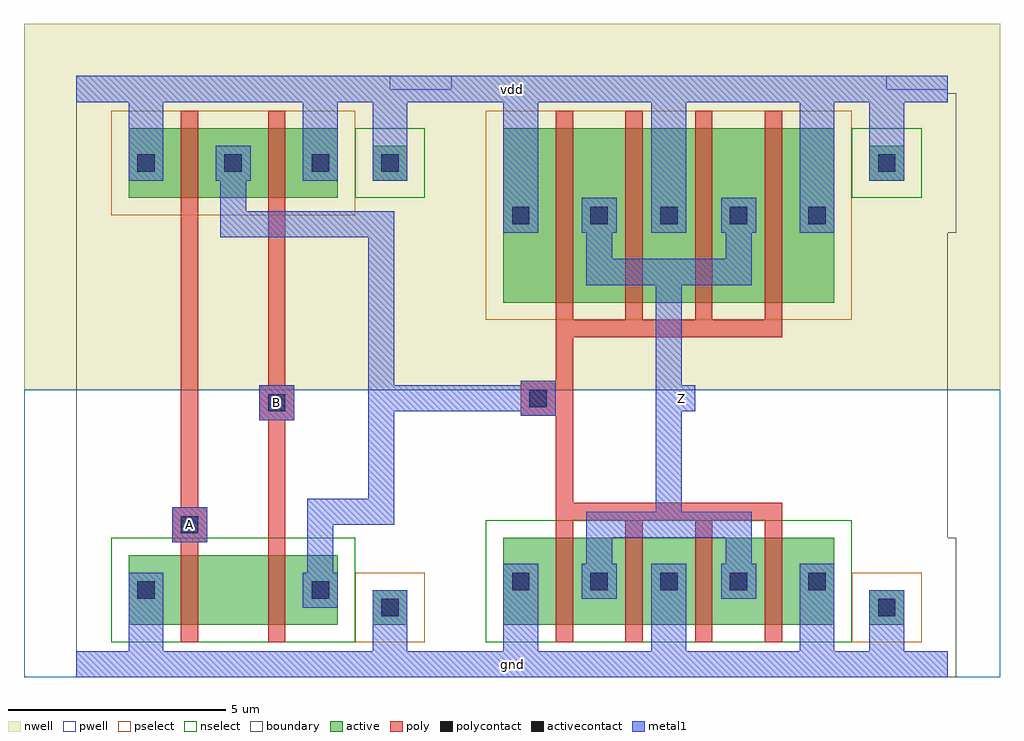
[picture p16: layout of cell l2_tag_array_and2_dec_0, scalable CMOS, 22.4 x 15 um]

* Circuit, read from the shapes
.subckt l2_tag_array_and2_dec_0 A B Z gnd vdd
M1 l2_tag_array_pnand2_0/l2_tag_array_nmos_m1_w1_600_sm1_dactive_2/D A gnd gnd nfet w=1.6u l=0.4u
M2 l2_tag_array_pinv_0_1/A B l2_tag_array_pnand2_0/l2_tag_array_nmos_m1_w1_600_sm1_dactive_2/D gnd nfet w=1.6u l=0.4u
M3 Z l2_tag_array_pinv_0_1/A gnd gnd nfet w=2u l=0.4u m=4
M4 l2_tag_array_pinv_0_1/A A vdd vdd pfet w=1.6u l=0.4u
M5 vdd B l2_tag_array_pinv_0_1/A vdd pfet w=1.6u l=0.4u
M6 Z l2_tag_array_pinv_0_1/A vdd vdd pfet w=4u l=0.4u m=4
.ends

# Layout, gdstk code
import gdstk
lib = gdstk.Library(unit=1e-6, precision=1e-09)
def R(c, l, rs):  # rectangles x0, y0, x1, y1
    for r in rs: c.add(gdstk.rectangle(r[:2], r[2:], *l))
def A(c, l, x, y, w, h, nx, ny, dx, dy):  # array of equal rectangles
    R(c, l, [(x+i*dx, y+j*dy, x+i*dx+w, y+j*dy+h) for i in range(nx) for j in range(ny)])
pwell = (41, 0)
nwell = (42, 0)
active = (43, 0)
pselect = (44, 0)
nselect = (45, 0)
poly = (46, 0)
polycontact = (47, 0)
activecontact = (48, 0)
metal1 = (49, 0)
boundary = (63, 0)

l2_tag_array_contact_11 = lib.new_cell('l2_tag_array_contact_11')
R(l2_tag_array_contact_11, nwell, [(-1.2,-1.2,2,2)])
R(l2_tag_array_contact_11, active, [(0,0,0.8,0.8)])
R(l2_tag_array_contact_11, pselect, [(-0.4,-0.4,1.2,1.2)])
R(l2_tag_array_contact_11, activecontact, [(0.2,0.2,0.6,0.6)])
R(l2_tag_array_contact_11, metal1, [(0,0,0.8,0.8)])
R(l2_tag_array_contact_11, boundary, [(-1.2,-1.2,2,2)])

l2_tag_array_pmos_m1_w1_ = lib.new_cell('l2_tag_array_pmos_m1_w1_600_sm1_dm1')
R(l2_tag_array_pmos_m1_w1_, nwell, [(-1.2,-1.2,4,2.8)])
R(l2_tag_array_pmos_m1_w1_, active, [(0,0,2.8,1.6)])
R(l2_tag_array_pmos_m1_w1_, pselect, [(-0.4,-0.4,3.2,2)])
R(l2_tag_array_pmos_m1_w1_, poly, [(1.2,-0.4,1.6,2), (1.2,-0.4,1.6,2)])
R(l2_tag_array_pmos_m1_w1_, metal1, [(0,0.4,0.8,1.2), (2,0.4,2.8,1.2)])
R(l2_tag_array_pmos_m1_w1_, boundary, [(-1.2,-1.2,4,2.8)])
l2_tag_array_pmos_m1_w1_.add(gdstk.Reference(l2_tag_array_contact_11, (0,0.4)))
l2_tag_array_pmos_m1_w1_.add(gdstk.Reference(l2_tag_array_contact_11, (2,0.4)))
l2_tag_array_pmos_m1_w1_.add(gdstk.Label('G', (1.4,0.8), layer=46, texttype=0))
l2_tag_array_pmos_m1_w1_.add(gdstk.Label('S', (0.4,0.8), layer=49, texttype=0))
l2_tag_array_pmos_m1_w1_.add(gdstk.Label('D', (2.4,0.8), layer=49, texttype=0))

l2_tag_array_contact_10 = lib.new_cell('l2_tag_array_contact_10')
R(l2_tag_array_contact_10, pwell, [(-1.2,-1.2,2,2)])
R(l2_tag_array_contact_10, active, [(0,0,0.8,0.8)])
R(l2_tag_array_contact_10, nselect, [(-0.4,-0.4,1.2,1.2)])
R(l2_tag_array_contact_10, activecontact, [(0.2,0.2,0.6,0.6)])
R(l2_tag_array_contact_10, metal1, [(0,0,0.8,0.8)])
R(l2_tag_array_contact_10, boundary, [(-1.2,-1.2,2,2)])

l2_tag_array_nmos_m1_w1_ = lib.new_cell('l2_tag_array_nmos_m1_w1_600_sm1_dactive')
R(l2_tag_array_nmos_m1_w1_, pwell, [(-1.2,-1.2,4,2.8)])
R(l2_tag_array_nmos_m1_w1_, active, [(0,0,2.8,1.6), (2.1,0.5,2.7,1.1)])
R(l2_tag_array_nmos_m1_w1_, nselect, [(-0.4,-0.4,3.2,2)])
R(l2_tag_array_nmos_m1_w1_, poly, [(1.2,-0.4,1.6,2), (1.2,-0.4,1.6,2)])
R(l2_tag_array_nmos_m1_w1_, metal1, [(0,0.4,0.8,1.2)])
R(l2_tag_array_nmos_m1_w1_, boundary, [(-1.2,-1.2,4,2.8)])
l2_tag_array_nmos_m1_w1_.add(gdstk.Reference(l2_tag_array_contact_10, (0,0.4)))
l2_tag_array_nmos_m1_w1_.add(gdstk.Label('G', (1.4,0.8), layer=46, texttype=0))
l2_tag_array_nmos_m1_w1_.add(gdstk.Label('S', (0.4,0.8), layer=49, texttype=0))
l2_tag_array_nmos_m1_w1_.add(gdstk.Label('D', (2.4,0.8), layer=43, texttype=0))

c_l2_tag_array_nmos_m1_w1_ = lib.new_cell('l2_tag_array_nmos_m1_w1_600_sactive_dm1')
R(c_l2_tag_array_nmos_m1_w1_, pwell, [(-1.2,-1.2,4,2.8)])
R(c_l2_tag_array_nmos_m1_w1_, active, [(0,0,2.8,1.6), (0.1,0.5,0.7,1.1)])
R(c_l2_tag_array_nmos_m1_w1_, nselect, [(-0.4,-0.4,3.2,2)])
R(c_l2_tag_array_nmos_m1_w1_, poly, [(1.2,-0.4,1.6,2), (1.2,-0.4,1.6,2)])
R(c_l2_tag_array_nmos_m1_w1_, metal1, [(2,0.4,2.8,1.2)])
R(c_l2_tag_array_nmos_m1_w1_, boundary, [(-1.2,-1.2,4,2.8)])
c_l2_tag_array_nmos_m1_w1_.add(gdstk.Reference(l2_tag_array_contact_10, (2,0.4)))
c_l2_tag_array_nmos_m1_w1_.add(gdstk.Label('G', (1.4,0.8), layer=46, texttype=0))
c_l2_tag_array_nmos_m1_w1_.add(gdstk.Label('S', (0.4,0.8), layer=43, texttype=0))
c_l2_tag_array_nmos_m1_w1_.add(gdstk.Label('D', (2.4,0.8), layer=49, texttype=0))

l2_tag_array_contact_12 = lib.new_cell('l2_tag_array_contact_12')
R(l2_tag_array_contact_12, nwell, [(-1.2,-1.2,2,2)])
R(l2_tag_array_contact_12, active, [(0,0,0.8,0.8)])
R(l2_tag_array_contact_12, nselect, [(-0.4,-0.4,1.2,1.2)])
R(l2_tag_array_contact_12, activecontact, [(0.2,0.2,0.6,0.6)])
R(l2_tag_array_contact_12, metal1, [(0,0,0.8,0.8)])
R(l2_tag_array_contact_12, boundary, [(-1.2,-1.2,2,2)])

l2_tag_array_contact_13 = lib.new_cell('l2_tag_array_contact_13')
R(l2_tag_array_contact_13, pwell, [(-1.2,-1.2,2,2)])
R(l2_tag_array_contact_13, active, [(0,0,0.8,0.8)])
R(l2_tag_array_contact_13, pselect, [(-0.4,-0.4,1.2,1.2)])
R(l2_tag_array_contact_13, activecontact, [(0.2,0.2,0.6,0.6)])
R(l2_tag_array_contact_13, metal1, [(0,0,0.8,0.8)])
R(l2_tag_array_contact_13, boundary, [(-1.2,-1.2,2,2)])

l2_tag_array_contact_14 = lib.new_cell('l2_tag_array_contact_14')
R(l2_tag_array_contact_14, poly, [(0,0,0.8,0.8)])
R(l2_tag_array_contact_14, polycontact, [(0.2,0.2,0.6,0.6)])
R(l2_tag_array_contact_14, metal1, [(0,0,0.8,0.8)])
R(l2_tag_array_contact_14, boundary, [(0,0,0.8,0.8)])

l2_tag_array_pnand2 = lib.new_cell('l2_tag_array_pnand2')
R(l2_tag_array_pnand2, pwell, [(-1.2,-0.3,9.8,6.3)])
R(l2_tag_array_pnand2, nwell, [(-1.2,6.3,9.8,14.7)])
R(l2_tag_array_pnand2, poly, [(2.4,2.8,2.6,3.6), (2.4,2.9,2.8,10.3), (4.4,2.9,4.8,10.3), (4.4,5.6,4.6,6.4)])
R(l2_tag_array_pnand2, metal1, [(0,-0.3,8.6,0.3), (1.2,-0.3,2,1.3), (6.8,0,7.6,1.3), (5.3,2.1,5.9,3.5), (2.2,2.8,3,3.6), (5.3,3.2,5.9,3.8), (5.6,3.2,7,3.8), (6.7,3.2,7.3,3.8), (6.7,3.5,7.3,10.1), (4.2,5.6,5,6.4), (3.3,9.8,3.9,10.4), (3.6,9.8,7,10.4), (6.7,9.8,7.3,10.4), (3.3,10.1,3.9,11.1), (1.2,11.1,2,13.5), (5.2,11.1,6,13.5), (6.8,11.5,7.6,13.2), (0,12.9,8.6,13.5)])
R(l2_tag_array_pnand2, boundary, [(0,0,8.6,13.2), (0,0,8.6,13.2)])
l2_tag_array_pnand2.add(gdstk.Reference(l2_tag_array_pmos_m1_w1_, (1.2,10.7)))
l2_tag_array_pnand2.add(gdstk.Reference(l2_tag_array_pmos_m1_w1_, (3.2,10.7)))
l2_tag_array_pnand2.add(gdstk.Reference(l2_tag_array_nmos_m1_w1_, (1.2,0.9)))
l2_tag_array_pnand2.add(gdstk.Reference(c_l2_tag_array_nmos_m1_w1_, (3.2,0.9)))
l2_tag_array_pnand2.add(gdstk.Reference(l2_tag_array_contact_12, (6.8,11.1)))
l2_tag_array_pnand2.add(gdstk.Reference(l2_tag_array_contact_13, (6.8,0.9)))
l2_tag_array_pnand2.add(gdstk.Reference(l2_tag_array_contact_14, (2.2,2.8)))
l2_tag_array_pnand2.add(gdstk.Reference(l2_tag_array_contact_14, (4.2,5.6)))
l2_tag_array_pnand2.add(gdstk.Label('Z', (7,10.1), layer=49, texttype=0))
l2_tag_array_pnand2.add(gdstk.Label('gnd', (4.3,0), layer=49, texttype=0))
l2_tag_array_pnand2.add(gdstk.Label('vdd', (4.3,13.2), layer=49, texttype=0))
l2_tag_array_pnand2.add(gdstk.Label('A', (2.6,3.2), layer=49, texttype=0))
l2_tag_array_pnand2.add(gdstk.Label('B', (4.6,6), layer=49, texttype=0))

l2_tag_array_pmos_m4_w4_ = lib.new_cell('l2_tag_array_pmos_m4_w4_000_sm1_dm1_da_p')
R(l2_tag_array_pmos_m4_w4_, nwell, [(-1.2,-1.2,8.8,5.2)])
R(l2_tag_array_pmos_m4_w4_, active, [(0,0,7.6,4)])
R(l2_tag_array_pmos_m4_w4_, pselect, [(-0.4,-0.4,8,4.4)])
A(l2_tag_array_pmos_m4_w4_, poly, 1.2, -0.4, 0.4, 4.8, 4, 1, 1.6, 0)
R(l2_tag_array_pmos_m4_w4_, poly, [(1.2,-0.8,6.4,-0.4)])
A(l2_tag_array_pmos_m4_w4_, metal1, 0, 1.6, 0.8, 0.8, 3, 1, 3.4, 0)
R(l2_tag_array_pmos_m4_w4_, metal1, [(1.9,0.4,5.7,1), (1.9,0.7,2.5,2), (5.1,0.7,5.7,2)])
R(l2_tag_array_pmos_m4_w4_, boundary, [(-1.2,-1.2,8.8,5.2)])
l2_tag_array_pmos_m4_w4_.add(gdstk.Reference(l2_tag_array_contact_11, (0,1.6)))
l2_tag_array_pmos_m4_w4_.add(gdstk.Reference(l2_tag_array_contact_11, (1.8,1.6)))
l2_tag_array_pmos_m4_w4_.add(gdstk.Reference(l2_tag_array_contact_11, (3.4,1.6)))
l2_tag_array_pmos_m4_w4_.add(gdstk.Reference(l2_tag_array_contact_11, (5,1.6)))
l2_tag_array_pmos_m4_w4_.add(gdstk.Reference(l2_tag_array_contact_11, (6.8,1.6)))
l2_tag_array_pmos_m4_w4_.add(gdstk.Label('G', (3.8,-0.6), layer=46, texttype=0))
l2_tag_array_pmos_m4_w4_.add(gdstk.Label('S', (0.4,2), layer=49, texttype=0))
l2_tag_array_pmos_m4_w4_.add(gdstk.Label('S', (7.2,2), layer=49, texttype=0))
l2_tag_array_pmos_m4_w4_.add(gdstk.Label('S', (3.8,2), layer=49, texttype=0))
l2_tag_array_pmos_m4_w4_.add(gdstk.Label('D', (3.8,0.7), layer=49, texttype=0))

l2_tag_array_nmos_m4_w2_ = lib.new_cell('l2_tag_array_nmos_m4_w2_000_sm1_dm1_da_p')
R(l2_tag_array_nmos_m4_w2_, pwell, [(-1.2,-1.2,8.8,3.2)])
R(l2_tag_array_nmos_m4_w2_, active, [(0,0,7.6,2)])
R(l2_tag_array_nmos_m4_w2_, nselect, [(-0.4,-0.4,8,2.4)])
A(l2_tag_array_nmos_m4_w2_, poly, 1.2, -0.4, 0.4, 2.8, 4, 1, 1.6, 0)
R(l2_tag_array_nmos_m4_w2_, poly, [(1.2,2.4,6.4,2.8)])
A(l2_tag_array_nmos_m4_w2_, metal1, 0, 0.6, 0.8, 0.8, 3, 1, 3.4, 0)
R(l2_tag_array_nmos_m4_w2_, metal1, [(1.9,1,2.5,2.3), (5.1,1,5.7,2.3), (1.9,2,5.7,2.6)])
R(l2_tag_array_nmos_m4_w2_, boundary, [(-1.2,-1.2,8.8,3.2)])
l2_tag_array_nmos_m4_w2_.add(gdstk.Reference(l2_tag_array_contact_10, (0,0.6)))
l2_tag_array_nmos_m4_w2_.add(gdstk.Reference(l2_tag_array_contact_10, (1.8,0.6)))
l2_tag_array_nmos_m4_w2_.add(gdstk.Reference(l2_tag_array_contact_10, (3.4,0.6)))
l2_tag_array_nmos_m4_w2_.add(gdstk.Reference(l2_tag_array_contact_10, (5,0.6)))
l2_tag_array_nmos_m4_w2_.add(gdstk.Reference(l2_tag_array_contact_10, (6.8,0.6)))
l2_tag_array_nmos_m4_w2_.add(gdstk.Label('G', (3.8,2.6), layer=46, texttype=0))
l2_tag_array_nmos_m4_w2_.add(gdstk.Label('S', (3.8,1), layer=49, texttype=0))
l2_tag_array_nmos_m4_w2_.add(gdstk.Label('S', (0.4,1), layer=49, texttype=0))
l2_tag_array_nmos_m4_w2_.add(gdstk.Label('S', (7.2,1), layer=49, texttype=0))
l2_tag_array_nmos_m4_w2_.add(gdstk.Label('D', (3.8,2.3), layer=49, texttype=0))

l2_tag_array_pinv_0 = lib.new_cell('l2_tag_array_pinv_0')
R(l2_tag_array_pinv_0, pwell, [(-1.2,-0.3,12.6,6.3)])
R(l2_tag_array_pinv_0, nwell, [(-1.2,6.3,12.6,14.7)])
R(l2_tag_array_pinv_0, poly, [(2.4,3.7,2.8,7.5), (2,5.7,2.4,6.5)])
A(l2_tag_array_pinv_0, metal1, 1.2, -0.3, 0.8, 1.8, 3, 1, 3.4, 0)
A(l2_tag_array_pinv_0, metal1, 1.2, 9.9, 0.8, 3.6, 3, 1, 3.4, 0)
R(l2_tag_array_pinv_0, metal1, [(0,-0.3,11.4,0.3), (9.6,0,10.4,1.3), (4.7,2.9,5.3,9.3), (1.6,5.7,2.4,6.5), (5,5.8,5.6,6.4), (9.6,11.5,10.4,13.2), (0,12.9,11.4,13.5)])
R(l2_tag_array_pinv_0, boundary, [(0,0,11.4,13.2), (0,0,11.4,13.2)])
l2_tag_array_pinv_0.add(gdstk.Reference(l2_tag_array_pmos_m4_w4_, (1.2,8.3)))
l2_tag_array_pinv_0.add(gdstk.Reference(l2_tag_array_nmos_m4_w2_, (1.2,0.9)))
l2_tag_array_pinv_0.add(gdstk.Reference(l2_tag_array_contact_12, (9.6,11.1)))
l2_tag_array_pinv_0.add(gdstk.Reference(l2_tag_array_contact_13, (9.6,0.9)))
l2_tag_array_pinv_0.add(gdstk.Reference(l2_tag_array_contact_14, (1.6,5.7)))
l2_tag_array_pinv_0.add(gdstk.Label('A', (2,6.1), layer=49, texttype=0))
l2_tag_array_pinv_0.add(gdstk.Label('Z', (5.3,6.1), layer=49, texttype=0))
l2_tag_array_pinv_0.add(gdstk.Label('gnd', (5.7,0), layer=49, texttype=0))
l2_tag_array_pinv_0.add(gdstk.Label('vdd', (5.7,13.2), layer=49, texttype=0))

l2_tag_array_and2_dec_0 = lib.new_cell('l2_tag_array_and2_dec_0')
R(l2_tag_array_and2_dec_0, metal1, [(0,-0.3,20,0.3), (2.2,2.8,3,3.6), (4.2,5.6,5,6.4), (6.7,5.8,7.3,6.4), (7,5.8,10.6,6.4), (13.6,5.8,14.2,6.4), (6.7,6.1,7.3,10.1), (0,12.9,20,13.5)])
R(l2_tag_array_and2_dec_0, boundary, [(0,0,20,13.2)])
l2_tag_array_and2_dec_0.add(gdstk.Reference(l2_tag_array_pnand2, (0,0)))
l2_tag_array_and2_dec_0.add(gdstk.Reference(l2_tag_array_pinv_0, (8.6,0)))
l2_tag_array_and2_dec_0.add(gdstk.Label('Z', (13.9,6.1), layer=49, texttype=0))
l2_tag_array_and2_dec_0.add(gdstk.Label('A', (2.6,3.2), layer=49, texttype=0))
l2_tag_array_and2_dec_0.add(gdstk.Label('B', (4.6,6), layer=49, texttype=0))
l2_tag_array_and2_dec_0.add(gdstk.Label('gnd', (10,0), layer=49, texttype=0))
l2_tag_array_and2_dec_0.add(gdstk.Label('vdd', (10,13.2), layer=49, texttype=0))

lib.write_gds('l2_tag_array_and2_dec_0.gds')
